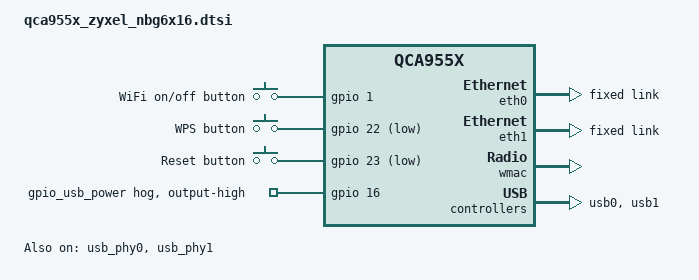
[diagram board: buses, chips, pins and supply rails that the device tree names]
// SPDX-License-Identifier: GPL-2.0-or-later OR MIT

#include "qca955x.dtsi"

#include <dt-bindings/gpio/gpio.h>
#include <dt-bindings/input/input.h>

/ {

	aliases {
		label-mac-device = &wmac;
	};

	keys: keys {
		compatible = "gpio-keys";

		wifi {
			label = "WiFi on/off button";
			linux,code = <KEY_RFKILL>;
			linux,input-type = <EV_SW>;
			gpios = <&gpio 1 GPIO_ACTIVE_HIGH>;
			debounce-interval = <60>;
		};

		wps {
			label = "WPS button";
			linux,code = <KEY_WPS_BUTTON>;
			gpios = <&gpio 22 GPIO_ACTIVE_LOW>;
			debounce-interval = <60>;
		};

		reset {
			label = "Reset button";
			linux,code = <KEY_RESTART>;
			gpios = <&gpio 23 GPIO_ACTIVE_LOW>;
			debounce-interval = <60>;
		};
	};
};

&gpio {
	gpio_usb_power: usb_power {
		gpio-hog;
		gpios = <16 GPIO_ACTIVE_HIGH>;
		output-high;
	};
};

&eth0 {
	status = "okay";

	pll-data = <0xa6000000 0x00000101 0x00001616>;

	nvmem-cells = <&macaddr_uboot_ethaddr 2>;
	nvmem-cell-names = "mac-address";

	fixed-link {
		speed = <1000>;
		full-duplex;
	};
};

&eth1 {
	status = "okay";

	pll-data = <0x03000101 0x00000101 0x00001616>;

	nvmem-cells = <&macaddr_uboot_ethaddr 3>;
	nvmem-cell-names = "mac-address";

	fixed-link {
		speed = <1000>;
		full-duplex;
	};
};

&wmac {
	status = "okay";

	nvmem-cells = <&cal_art_1000>, <&macaddr_uboot_ethaddr 0>;
	nvmem-cell-names = "calibration", "mac-address";
};

&usb_phy0 {
	status = "okay";
};

&usb_phy1 {
	status = "okay";
};

&usb0 {
	status = "okay";
};

&usb1 {
	status = "okay";
};
